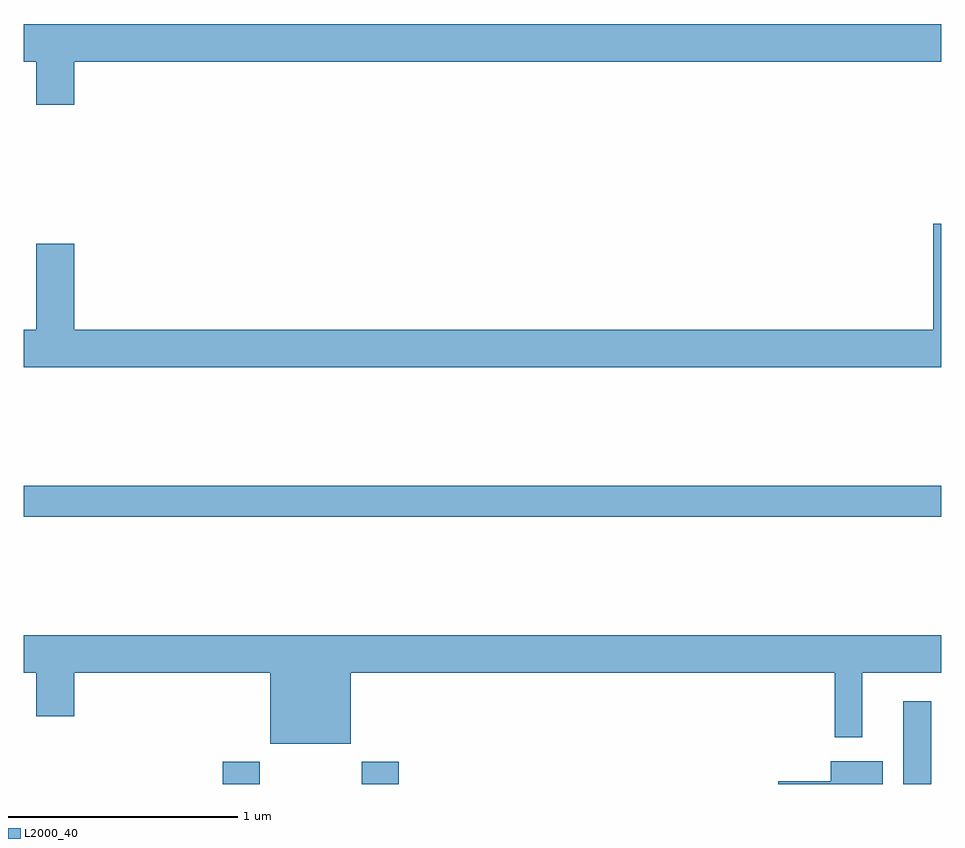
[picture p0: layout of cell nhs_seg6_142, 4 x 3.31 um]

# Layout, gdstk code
import gdstk
lib = gdstk.Library(unit=1e-6, precision=1e-09)
def R(c, l, rs):  # rectangles x0, y0, x1, y1
    for r in rs: c.add(gdstk.rectangle(r[:2], r[2:], *l))
def P(c, l, *ps):  # polygons
    for p in ps: c.add(gdstk.Polygon(p, *l))
L2000_40 = (2000, 40)

nhs_seg6_142 = lib.new_cell('nhs_seg6_142')
R(nhs_seg6_142, L2000_40, [(117.869,965.5,118.029,965.596), (118.474,965.5,118.634,965.596), (120.833,965.5,120.955,965.86), (117,966.664,121,966.8)])
P(nhs_seg6_142, L2000_40, [(117.22,968.648),(121,968.648),(121,968.812),(117,968.812),(117,968.648),(117.056,968.648),(117.056,968.46),(117.22,968.46)],
  [(121,967.942),(120.965,967.942),(120.965,967.48),(117.22,967.48),(117.22,967.855),(117.056,967.855),(117.056,967.48),(117,967.48),(117,967.316),(121,967.316)],
  [(118.426,965.984),(120.534,965.984),(120.534,965.703),(120.655,965.703),(120.655,965.984),(121,965.984),(121,966.148),(117,966.148),(117,965.984),(117.056,965.984),(117.056,965.796),(117.22,965.796),(117.22,965.984),(118.076,965.984),(118.076,965.675),(118.426,965.675)],
  [(120.745,965.599),(120.518,965.599),(120.518,965.511),(120.288,965.511),(120.288,965.5),(120.745,965.5)])

lib.write_gds('nhs_seg6_142.gds')
